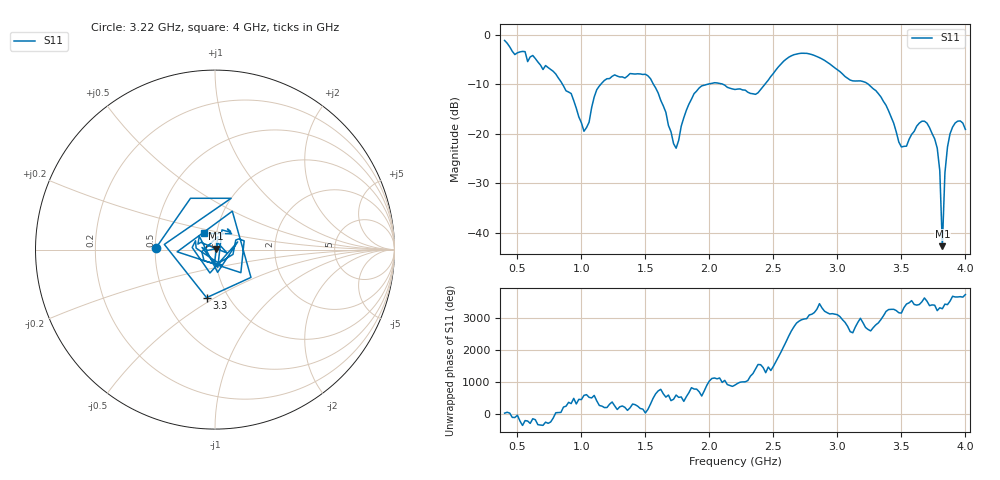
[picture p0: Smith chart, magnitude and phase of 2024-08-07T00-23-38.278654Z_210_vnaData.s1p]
!Created with skrf (http://scikit-rf.org).
# Hz S RI R 50.0
!freq ReS11 ImS11
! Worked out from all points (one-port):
!   181 points, 400 MHz to 4 GHz, reference 50 ohm
!   lowest |S11| = -42.7 dB at 3.82 GHz (marker M1), VSWR 1.01, Z = 50.5 + j0.501 ohm
!   |S11| at or under -10 dB: 1.562 GHz to 1.993 GHz (430.9 MHz wide, 24.2 % of centre); 2.102 GHz to 2.435 GHz (332.2 MHz wide, 14.6 % of centre); 3.241 GHz to end of sweep (the widest 3 of 4)
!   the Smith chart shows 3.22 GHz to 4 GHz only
!   S11 on the Smith chart (normalised r, x): 3.22 GHz: 0.51, +0.01; 3.3 GHz: 0.79, -0.46; 4 GHz: 0.87, +0.16
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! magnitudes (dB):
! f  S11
! 400 MHz  -1.2
! 860 MHz  -10.4
! 920 MHz  -11.9
! 1.02 GHz  -19.5
! 1.12 GHz  -11.1
! 1.3 GHz  -8.6
! 1.52 GHz  -8.3
! 1.66 GHz  -15.7
! 1.72 GHz  -22.0
! 1.76 GHz  -21.4
! 1.82 GHz  -15.3
! 1.92 GHz  -10.8
! 2.2 GHz  -11.1
! 2.36 GHz  -12.1
! 2.66 GHz  -4.1
! 3.1 GHz  -9.2
! 3.22 GHz  -9.7
! 3.3 GHz  -11.3
! 3.5 GHz  -22.7
! 3.56 GHz  -21.2
! 3.68 GHz  -17.5
! 3.76 GHz  -21.1
! 3.8 GHz  -27.5
! 3.82 GHz  -42.7
! 3.84 GHz  -28.0
! 3.88 GHz  -20.0
! 3.94 GHz  -17.5
! 4 GHz  -19.2
